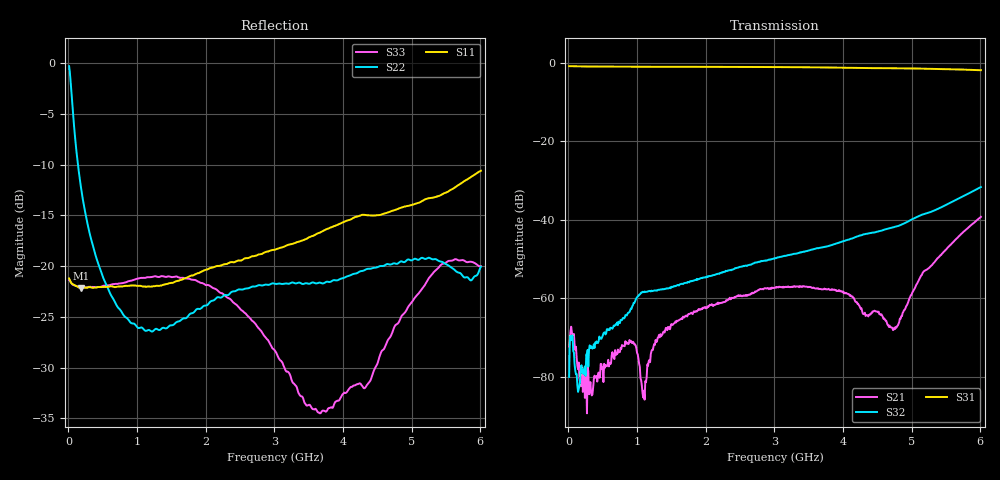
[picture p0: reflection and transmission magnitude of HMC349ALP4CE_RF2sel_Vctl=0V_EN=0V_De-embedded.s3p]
! Device:	HMC349ALP4CE
! Description:	SOI MMIC SPDT Non-Reflective Switch
! Package:	LP4CE 16 pin 4x4 mm QFN Plastic Package
! Frequency:	DC -  4 GHz
! Ports:
! RFC = Port 1
! RF1 = Port 2
! RF2 = Port 3
! State: RF2 Selected
! Supply Voltage:
! Vdd = +5 V
! Control Voltages:
! Vctl  = 0 V
! EN  = 0 V
! Data:	Data was collected using a calibrated network analyzer with AFR software.
!	Fixtures were calculated using AFR and fixturing was applied to collect
!	this Deembedded  S Parameter data of HMC349ALP4CE.
! Note:	Analog Devices supplies this data as a sample of measured data at the package pin
!	for this product.  Your particular data for this product may vary.
!	Data was taken at 25 degrees C.
!	Analog Devices reserves the right to change this data at anytime.
# Hz S  dB  R 50
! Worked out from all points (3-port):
!   601 points, 10 MHz to 6.01 GHz, reference 50 ohm
!   strongest paths, dB at 10 MHz, 1.51 GHz, 3.01 GHz, 4.51 GHz, 6.01 GHz:
!     S31: -0.8, -1.0, -1.1, -1.3, -1.9
!     S32: -80.1, -57.2, -49.9, -43.0, -31.7
!     S21: -72.3, -66.9, -57.3, -63.6, -39.3
!   lowest |S11| = -22.2 dB at 190 MHz (marker M1), VSWR 1.17, Z = 58.4 - j0.55 ohm
!   |S11| at or under -10 dB: start of sweep to end of sweep
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1e7  -21.22 -0.3  -83.00 -2.7  -0.83 -0.4
     -72.32 86.4  -0.30 -11.9  -68.96 44.6
     -0.84 -0.4  -80.11 38.6  -21.37 -1.0
6e7  -21.76 -3.2  -68.50 -22.6  -0.88 -1.8
     -69.38 -37.1  -4.34 -49.4  -70.47 -27.7
     -0.88 -1.8  -69.50 -25.7  -21.82 -2.5
1.9e8  -22.15 -3.4  -81.83 11.4  -0.92 -4.9
       -79.98 -23.8  -12.58 -68.2  -82.09 67.0
       -0.92 -4.9  -77.12 62.5  -22.04 -2.7
8.8e8  -21.94 -8.3  -71.53 54.0  -0.96 -21.9
       -71.62 49.8  -25.34 -39.7  -64.03 119.6
       -0.97 -21.9  -63.69 120.2  -21.47 -7.0
1.06e9  -21.95 -10.9  -80.43 -50.8  -0.98 -26.2
        -81.01 -45.5  -26.04 -28.7  -58.72 114.8
        -0.98 -26.2  -58.59 115.5  -21.15 -9.4
1.67e9  -21.29 -20.0  -64.80 128.3  -1.00 -41.2
        -64.72 127.9  -25.16 2.0  -56.32 111.4
        -1.00 -41.2  -56.42 111.1  -21.15 -14.0
3.01e9  -18.37 -66.4  -57.43 101.1  -1.06 -75.2
        -57.33 101.9  -21.74 31.8  -49.80 120.8
        -1.07 -75.2  -49.87 120.7  -28.33 -9.1
3.66e9  -16.71 -93.2  -57.56 84.7  -1.14 -92.3
        -57.67 84.6  -21.62 28.3  -47.14 119.7
        -1.14 -92.4  -47.19 119.5  -34.49 8.5
4.74e9  -14.52 -134.2  -68.09 33.6  -1.37 -121.3
        -68.02 33.5  -19.72 12.1  -41.92 111.5
        -1.37 -121.3  -41.92 111.5  -26.14 61.3
6.01e9  -10.60 -165.2  -39.27 -114.2  -1.86 -160.4
        -39.28 -114.0  -20.06 -39.0  -31.66 89.6
        -1.87 -160.4  -31.67 89.5  -20.00 10.5
